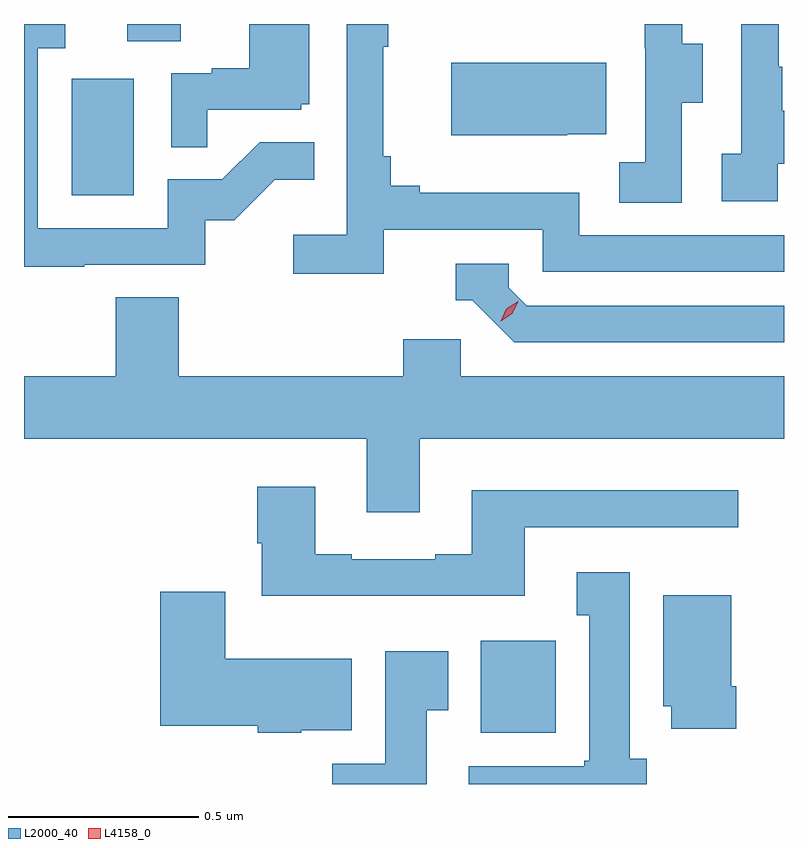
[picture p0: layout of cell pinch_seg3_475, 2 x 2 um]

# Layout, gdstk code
import gdstk
lib = gdstk.Library(unit=1e-6, precision=1e-09)
def R(c, l, rs):  # rectangles x0, y0, x1, y1
    for r in rs: c.add(gdstk.rectangle(r[:2], r[2:], *l))
def P(c, l, *ps):  # polygons
    for p in ps: c.add(gdstk.Polygon(p, *l))
L2000_40 = (2000, 40)
L4158_0 = (4158, 0)

pinch_seg3_475 = lib.new_cell('pinch_seg3_475')
R(pinch_seg3_475, L2000_40, [(912.761,676.166,912.958,676.408), (911.684,677.58,911.848,677.887), (911.831,677.986,911.971,678.031)])
P(pinch_seg3_475, L2000_40, [(912.506,677.49),(912.924,677.49),(912.924,677.379),(913.559,677.379),(913.559,677.475),(913.02,677.475),(913.02,677.587),(912.601,677.587),(912.601,677.606),(912.524,677.606),(912.524,677.683),(912.505,677.683),(912.505,677.971),(912.517,677.971),(912.517,678.031),(912.408,678.031),(912.408,677.476),(912.267,677.476),(912.267,677.374),(912.506,677.374)],
  [(913.29,677.824),(913.345,677.824),(913.345,677.979),(913.291,677.979),(913.291,678.031),(913.193,678.031),(913.193,677.967),(913.194,677.967),(913.194,677.667),(913.125,677.667),(913.125,677.56),(913.29,677.56)],
  [(912.041,677.805),(912.288,677.805),(912.288,677.82),(912.31,677.82),(912.31,678.031),(912.152,678.031),(912.152,677.914),(912.053,677.914),(912.053,677.901),(911.946,677.901),(911.946,677.707),(912.041,677.707)],
  [(911.717,677.397),(912.036,677.397),(912.036,677.514),(912.112,677.514),(912.219,677.621),(912.323,677.621),(912.323,677.72),(912.179,677.72),(912.081,677.622),(911.937,677.622),(911.937,677.493),(911.595,677.493),(911.595,677.967),(911.668,677.967),(911.668,678.031),(911.559,678.031),(911.559,677.392),(911.717,677.392)],
  [(913.542,677.663),(913.559,677.663),(913.559,677.803),(913.555,677.803),(913.555,677.918),(913.545,677.918),(913.545,678.031),(913.446,678.031),(913.446,677.69),(913.395,677.69),(913.395,677.565),(913.542,677.565)],
  [(912.989,677.741),(913.091,677.741),(913.091,677.929),(912.683,677.929),(912.683,677.738),(912.989,677.738)],
  [(913.559,677.289),(912.882,677.289),(912.834,677.337),(912.834,677.4),(912.695,677.4),(912.695,677.304),(912.738,677.304),(912.849,677.193),(913.559,677.193)],
  [(912.601,676.94),(913.559,676.94),(913.559,677.104),(912.708,677.104),(912.708,677.202),(912.557,677.202),(912.557,677.104),(911.966,677.104),(911.966,677.312),(911.801,677.312),(911.801,677.104),(911.559,677.104),(911.559,676.94),(912.461,676.94),(912.461,676.746),(912.601,676.746)],
  [(912.877,676.707),(913.438,676.707),(913.438,676.804),(912.737,676.804),(912.737,676.636),(912.641,676.636),(912.641,676.623),(912.421,676.623),(912.421,676.636),(912.325,676.636),(912.325,676.813),(912.173,676.813),(912.173,676.665),(912.185,676.665),(912.185,676.526),(912.877,676.526)],
  [(913.198,676.098),(913.153,676.098),(913.153,676.588),(913.013,676.588),(913.013,676.475),(913.046,676.475),(913.046,676.092),(913.033,676.092),(913.033,676.078),(912.729,676.078),(912.729,676.031),(913.198,676.031)],
  [(912.288,676.172),(912.421,676.172),(912.421,676.36),(912.088,676.36),(912.088,676.537),(911.918,676.537),(911.918,676.184),(912.174,676.184),(912.174,676.166),(912.288,676.166)],
  [(913.433,676.288),(913.42,676.288),(913.42,676.528),(913.241,676.528),(913.241,676.236),(913.262,676.236),(913.262,676.176),(913.433,676.176)],
  [(912.619,676.225),(912.676,676.225),(912.676,676.381),(912.509,676.381),(912.509,676.084),(912.37,676.084),(912.37,676.031),(912.619,676.031)])
P(pinch_seg3_475, L4158_0, [(912.813,677.249),(912.813,677.249),(912.828,677.282),(912.859,677.302),(912.859,677.302),(912.859,677.302),(912.844,677.269),(912.813,677.249)])

lib.write_gds('pinch_seg3_475.gds')
